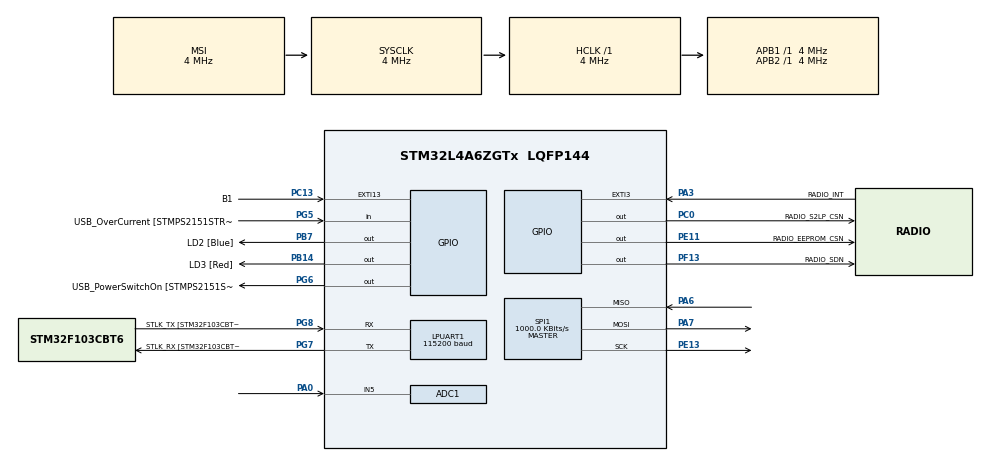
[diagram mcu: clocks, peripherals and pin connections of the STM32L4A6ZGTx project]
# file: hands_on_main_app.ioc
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ADC1.Channel-0\#ChannelRegularConversion=ADC_CHANNEL_5
ADC1.ClockPrescaler=ADC_CLOCK_ASYNC_DIV10
ADC1.DMAContinuousRequests=ENABLE
ADC1.ExternalTrigConv=ADC_EXTERNALTRIG_T3_TRGO
ADC1.NbrOfConversionFlag=1
ADC1.OffsetNumber-0\#ChannelRegularConversion=ADC_OFFSET_NONE
ADC1.Rank-0\#ChannelRegularConversion=1
ADC1.SamplingTime-0\#ChannelRegularConversion=ADC_SAMPLETIME_2CYCLES_5
ADC1.master=1
AES.Data\ encryption\ types\ list=AESECB
AES.DataType=CRYP_DATATYPE_8B
Dma.ADC1.0.Direction=DMA_PERIPH_TO_MEMORY
Dma.ADC1.0.Instance=DMA1_Channel1
Dma.ADC1.0.MemDataAlignment=DMA_MDATAALIGN_HALFWORD
Dma.ADC1.0.MemInc=DMA_MINC_ENABLE
Dma.ADC1.0.Mode=DMA_CIRCULAR
Dma.ADC1.0.PeriphDataAlignment=DMA_PDATAALIGN_HALFWORD
Dma.ADC1.0.PeriphInc=DMA_PINC_DISABLE
Dma.ADC1.0.Priority=DMA_PRIORITY_LOW
Dma.Request0=ADC1
LPUART1.AutoBaudRateEnableParam=UART_ADVFEATURE_AUTOBAUDRATE_DISABLE
LPUART1.BaudRate=115200
LPUART1.DMADisableonRxErrorParam=UART_ADVFEATURE_DMA_ENABLEONRXERROR
LPUART1.DataInvertParam=UART_ADVFEATURE_DATAINV_DISABLE
LPUART1.MSBFirstParam=UART_ADVFEATURE_MSBFIRST_DISABLE
LPUART1.Mode=UART_MODE_TX_RX
LPUART1.OneBitSampling=UART_ONE_BIT_SAMPLE_DISABLE
LPUART1.OverrunDisableParam=UART_ADVFEATURE_OVERRUN_ENABLE
LPUART1.Parity=UART_PARITY_NONE
LPUART1.RxPinLevelInvertParam=UART_ADVFEATURE_RXINV_DISABLE
LPUART1.StopBits=UART_STOPBITS_1
LPUART1.SwapParam=UART_ADVFEATURE_SWAP_DISABLE
LPUART1.TxPinLevelInvertParam=UART_ADVFEATURE_TXINV_DISABLE
LPUART1.WordLength=UART_WORDLENGTH_8B
Mcu.Family=STM32L4
Mcu.Name=STM32L4A6ZGTx
Mcu.Package=LQFP144
NVIC.DMA1_Channel1_IRQn=true\:1\:0\:true\:false\:true\:false\:true\:true
NVIC.EXTI15_10_IRQn=true\:0\:0\:false\:false\:true\:true\:true\:true
NVIC.EXTI3_IRQn=true\:0\:0\:false\:false\:true\:true\:true\:true
NVIC.PriorityGroup=NVIC_PRIORITYGROUP_4
NVIC.TIM3_IRQn=true\:0\:0\:true\:false\:true\:true\:true\:true
PA0.Signal=ADCx_IN5
PA10.GPIO_Label=USB_ID
PA10.Signal=USB_OTG_FS_ID
PA11.GPIO_Label=USB_DM
PA11.Signal=USB_OTG_FS_DM
PA12.GPIO_Label=USB_DP
PA12.Signal=USB_OTG_FS_DP
PA13\ (JTMS/SWDIO).GPIO_Label=TMS
PA13\ (JTMS/SWDIO).Mode=Trace_Asynchronous_SW
PA13\ (JTMS/SWDIO).Signal=SYS_JTMS-SWDIO
PA14\ (JTCK/SWCLK).GPIO_Label=TCK
PA14\ (JTCK/SWCLK).Mode=Trace_Asynchronous_SW
PA14\ (JTCK/SWCLK).Signal=SYS_JTCK-SWCLK
PA3.GPIO_Label=RADIO_INT
PA3.GPIO_ModeDefaultEXTI=GPIO_MODE_IT_FALLING
PA3.Signal=GPXTI3
PA6.Mode=Full_Duplex_Master
PA6.Signal=SPI1_MISO
PA7.Mode=Full_Duplex_Master
PA7.Signal=SPI1_MOSI
PA8.GPIO_Label=USB_SOF [TP1]
PA8.Signal=USB_OTG_FS_SOF
PA9.GPIO_Label=USB_VBUS
PA9.Signal=USB_OTG_FS_VBUS
PB14.GPIO_Label=LD3 [Red]
PB14.Signal=GPIO_Output
PB3\ (JTDO/TRACESWO).GPIO_Label=SWO
PB3\ (JTDO/TRACESWO).Mode=Trace_Asynchronous_SW
PB3\ (JTDO/TRACESWO).Signal=SYS_JTDO-SWO
PB7.GPIO_Label=LD2 [Blue]
PB7.Signal=GPIO_Output
PC0.GPIO_Label=RADIO_S2LP_CSN
PC0.GPIO_Speed=GPIO_SPEED_FREQ_VERY_HIGH
PC0.PinState=GPIO_PIN_SET
PC0.Signal=GPIO_Output
PC13.GPIO_Label=B1
PC13.GPIO_ModeDefaultEXTI=GPIO_MODE_IT_RISING
PC13.Signal=GPXTI13
PC14-OSC32_IN\ (PC14).Mode=LSE-External-Oscillator
PC14-OSC32_IN\ (PC14).Signal=RCC_OSC32_IN
PC15-OSC32_OUT\ (PC15).Mode=LSE-External-Oscillator
PC15-OSC32_OUT\ (PC15).Signal=RCC_OSC32_OUT
PE11.GPIO_Label=RADIO_EEPROM_CSN
PE11.PinState=GPIO_PIN_SET
PE11.Signal=GPIO_Output
PE13.Mode=Full_Duplex_Master
PE13.Signal=SPI1_SCK
PF13.GPIO_Label=RADIO_SDN
PF13.PinState=GPIO_PIN_SET
PF13.Signal=GPIO_Output
PG5.GPIO_Label=USB_OverCurrent [STMPS2151STR_FAULT]
PG5.Signal=GPIO_Input
PG6.GPIO_Label=USB_PowerSwitchOn [STMPS2151STR_EN]
PG6.Signal=GPIO_Output
PG7.GPIO_Label=STLK_RX [STM32F103CBT6_PA3]
PG7.Mode=Asynchronous
PG7.Signal=LPUART1_TX
PG8.GPIO_Label=STLK_TX [STM32F103CBT6_PA2]
PG8.Mode=Asynchronous
PG8.Signal=LPUART1_RX
PH1-OSC_OUT\ (PH1).Signal=RCC_OSC_OUT
ProjectManager.HeapSize=0x200
ProjectManager.StackSize=0x400
ProjectManager.TargetToolchain=STM32CubeIDE
RCC.ADCCLockSelection=RCC_ADCCLKSOURCE_SYSCLK
RCC.ADCFreq_Value=4000000
RCC.AHBFreq_Value=4000000
RCC.APB1Freq_Value=4000000
RCC.APB1TimFreq_Value=4000000
RCC.APB2Freq_Value=4000000
RCC.APB2TimFreq_Value=4000000
RCC.CortexFreq_Value=4000000
RCC.FLatency=FLASH_LATENCY_0
RCC.HCLKFreq_Value=4000000
RCC.HSE_VALUE=8000000
RCC.HSI48_VALUE=48000000
RCC.HSI_VALUE=16000000
RCC.LPUART1CLockSelection=RCC_LPUART1CLKSOURCE_SYSCLK
RCC.MSI_VALUE=4000000
RCC.PLLN=24
RCC.PLLSAI1N=24
RCC.SYSCLKFreq_VALUE=4000000
RCC.USBFreq_Value=48000000
RCC.VCOOutputFreq_Value=96000000
SH.ADCx_IN5.0=ADC1_IN5,IN5-Single-Ended
SPI1.BaudRatePrescaler=SPI_BAUDRATEPRESCALER_4
SPI1.CalculateBaudRate=1000.0 KBits/s
SPI1.DataSize=SPI_DATASIZE_8BIT
SPI1.Direction=SPI_DIRECTION_2LINES
SPI1.Mode=SPI_MODE_MASTER
SPI1.VirtualType=VM_MASTER
TIM3.Period=185
TIM3.Prescaler=2
TIM3.TIM_MasterOutputTrigger=TIM_TRGO_UPDATE
VP_AES_VS_AES.Mode=AES_Activate
VP_TIM3_VS_ClockSourceINT.Mode=Internal
board=NUCLEO-L4A6ZG

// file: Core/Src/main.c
/* USER CODE BEGIN Header */
/**
  ******************************************************************************
  * @file           : main.c
  * @brief          : Main program body
  ******************************************************************************
  * @attention
  *
  * <h2><center>&copy; Copyright (c) 2021 STMicroelectronics.
  * All rights reserved.</center></h2>
  *
  * This software component is licensed by ST under BSD 3-Clause license,
  * the "License"; You may not use this file except in compliance with the
  * License. You may obtain a copy of the License at:
  *                        opensource.org/licenses/BSD-3-Clause
  *
  ******************************************************************************
  */
/* USER CODE END Header */
#include "main.h"
#include "adc.h"
#include "aes.h"
#include "dma.h"
#include "spi.h"
#include "tim.h"
#include "gpio.h"

/* USER CODE BEGIN Includes */
#include <stdio.h>
#include <string.h>
#include "arm_math.h"
#include "adc_dblbuf.h"
#include "retarget.h"
#include "s2lp.h"
#include "spectrogram.h"
#include "eval_radio.h"
#include "packet.h"
#include "config.h"
#include "utils.h"
#include "usart.h"

/* USER CODE END Includes */

/* USER CODE BEGIN PV */

volatile uint8_t btn_press;

/* USER CODE END PV */

void SystemClock_Config(void);

/* USER CODE BEGIN 0 */

void HAL_GPIO_EXTI_Callback(uint16_t GPIO_Pin)
{
	if (GPIO_Pin == B1_Pin) {
		btn_press = 1;
	}
	else if (GPIO_Pin == RADIO_INT_Pin)
		S2LP_IRQ_Handler();
}

static void acquire_and_send_packet() {
	if (StartADCAcq(N_MELVECS) != HAL_OK) {
		DEBUG_PRINT("Error while enabling the DMA\r\n");
	}
	while (!IsADCFinished()) {
		__WFI();
	}
}

/*void run(void)
{
	btn_press = 0;

	while (1)
	{
	  while (!btn_press) {
		  HAL_GPIO_WritePin(GPIOB, LD2_Pin, GPIO_PIN_SET);
		  HAL_Delay(200);
		  HAL_GPIO_WritePin(GPIOB, LD2_Pin, GPIO_PIN_RESET);
		  HAL_Delay(200);
	  }
	  btn_press = 0;
#if (CONTINUOUS_ACQ == 1)
	  while (!btn_press) {
		  acquire_and_send_packet();
	  }
	  btn_press = 0;
#elif (CONTINUOUS_ACQ == 0)
	  acquire_and_send_packet();
#else
#error "Wrong value for CONTINUOUS_ACQ."
#endif
	}
}*/

void run(void)
{
    // Ensure button state is cleared at start
    btn_press = 0;

    while (1)
    {
        /* * The loop that previously blinked LD2 and waited for a
         * button press has been removed to allow immediate execution.
         */

#if (CONTINUOUS_ACQ == 1)
        // Starts acquiring immediately.
        // If the button is pressed, it will break this loop,
        // reset btn_press, and then immediately restart.
        while (!btn_press) {
            acquire_and_send_packet();
        }
        btn_press = 0;
#elif (CONTINUOUS_ACQ == 0)
        // Performs a single acquisition and loops immediately.
        acquire_and_send_packet();
#else
#error "Wrong value for CONTINUOUS_ACQ."
#endif
    }
}

/* USER CODE END 0 */

int main(void)
{

  /* MCU Configuration--------------------------------------------------------*/

  /* Reset of all peripherals, Initializes the Flash interface and the Systick. */
  HAL_Init();

  /* Configure the system clock */
  SystemClock_Config();

  /* Initialize all configured peripherals */
  MX_GPIO_Init();
  MX_DMA_Init();
  MX_SPI1_Init();
  MX_TIM3_Init();
  MX_ADC1_Init();
  MX_AES_Init();
  /* USER CODE BEGIN 2 */
  if (ENABLE_UART) {
	  MX_LPUART1_UART_Init();
  }

  RetargetInit(&hlpuart1);
  DEBUG_PRINT("Hello world\r\n");

#if ENABLE_RADIO
  // Enable S2LP Radio
  HAL_StatusTypeDef err = S2LP_Init(&hspi1);
  if (err)  {
	  DEBUG_PRINT("[S2LP] Error while initializing: %u\r\n", err);
	  Error_Handler();
  } else {
	  DEBUG_PRINT("[S2LP] Init OK\r\n");
  }
#endif

  if (HAL_ADCEx_Calibration_Start(&hadc1, ADC_SINGLE_ENDED) != HAL_OK) {
	  DEBUG_PRINT("Error while calibrating the ADC\r\n");
	  Error_Handler();
  }
  if (HAL_TIM_Base_Start(&htim3) != HAL_OK) {
	  DEBUG_PRINT("Error while enabling timer TIM3\r\n");
	  Error_Handler();
  }
  /* USER CODE END 2 */

  /* Infinite loop */
  /* USER CODE BEGIN WHILE */
#if (RUN_CONFIG == MAIN_APP)
  run();
#elif (RUN_CONFIG == EVAL_RADIO)
  eval_radio();
#else
#error "Wrong value for RUN_CONFIG."
#endif

    /* USER CODE END WHILE */

}

void SystemClock_Config(void)
{
  RCC_OscInitTypeDef RCC_OscInitStruct = {0};
  RCC_ClkInitTypeDef RCC_ClkInitStruct = {0};

  /** Configure the main internal regulator output voltage
  */
  if (HAL_PWREx_ControlVoltageScaling(PWR_REGULATOR_VOLTAGE_SCALE1) != HAL_OK)
  {
    Error_Handler();
  }

  /** Initializes the RCC Oscillators according to the specified parameters
  * in the RCC_OscInitTypeDef structure.
  */
  RCC_OscInitStruct.OscillatorType = RCC_OSCILLATORTYPE_MSI;
  RCC_OscInitStruct.MSIState = RCC_MSI_ON;
  RCC_OscInitStruct.MSICalibrationValue = 0;
  RCC_OscInitStruct.MSIClockRange = RCC_MSIRANGE_6;
  RCC_OscInitStruct.PLL.PLLState = RCC_PLL_NONE;
  if (HAL_RCC_OscConfig(&RCC_OscInitStruct) != HAL_OK)
  {
    Error_Handler();
  }

  /** Initializes the CPU, AHB and APB buses clocks
  */
  RCC_ClkInitStruct.ClockType = RCC_CLOCKTYPE_HCLK|RCC_CLOCKTYPE_SYSCLK
                              |RCC_CLOCKTYPE_PCLK1|RCC_CLOCKTYPE_PCLK2;
  RCC_ClkInitStruct.SYSCLKSource = RCC_SYSCLKSOURCE_MSI;
  RCC_ClkInitStruct.AHBCLKDivider = RCC_SYSCLK_DIV1;
  RCC_ClkInitStruct.APB1CLKDivider = RCC_HCLK_DIV1;
  RCC_ClkInitStruct.APB2CLKDivider = RCC_HCLK_DIV1;

  if (HAL_RCC_ClockConfig(&RCC_ClkInitStruct, FLASH_LATENCY_0) != HAL_OK)
  {
    Error_Handler();
  }
}

void Error_Handler(void)
{
  /* USER CODE BEGIN Error_Handler_Debug */
  __disable_irq();
  DEBUG_PRINT("Entering error Handler\r\n");
  while (1)
  {
	  // Blink LED3 (red)
	  HAL_GPIO_WritePin(GPIOB, LD3_Pin, GPIO_PIN_SET);
	  for (volatile int i=0; i < SystemCoreClock/200; i++);
	  HAL_GPIO_WritePin(GPIOB, LD3_Pin, GPIO_PIN_RESET);
	  for (volatile int i=0; i < SystemCoreClock/200; i++);
  }
  /* USER CODE END Error_Handler_Debug */
}
#ifdef USE_FULL_ASSERT
/**
  * @brief  Reports the name of the source file and the source line number
  *         where the assert_param error has occurred.
  * @param  file: pointer to the source file name
  * @param  line: assert_param error line source number
  * @retval None
  */
void assert_failed(uint8_t *file, uint32_t line)
{
  /* USER CODE BEGIN 6 */
  /* User can add his own implementation to report the file name and line number,
     ex: DEBUG_PRINT("Wrong parameters value: file %s on line %d\r\n", file, line) */
  /* USER CODE END 6 */
}
#endif /* USE_FULL_ASSERT */
